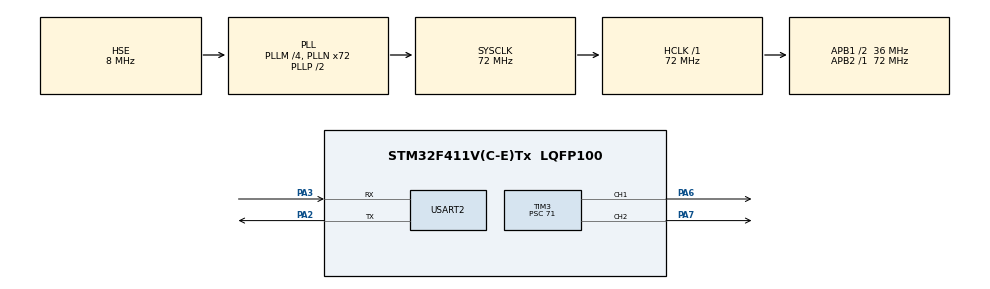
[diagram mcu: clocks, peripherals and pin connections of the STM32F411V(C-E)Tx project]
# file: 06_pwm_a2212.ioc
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Mcu.Family=STM32F4
Mcu.Name=STM32F411V(C-E)Tx
Mcu.Package=LQFP100
NVIC.PriorityGroup=NVIC_PRIORITYGROUP_4
PA2.Mode=Asynchronous
PA2.Signal=USART2_TX
PA3.Mode=Asynchronous
PA3.Signal=USART2_RX
PA6.Signal=S_TIM3_CH1
PA7.Signal=S_TIM3_CH2
PC14-OSC32_IN.Mode=LSE-External-Oscillator
PC14-OSC32_IN.Signal=RCC_OSC32_IN
PC15-OSC32_OUT.Mode=LSE-External-Oscillator
PC15-OSC32_OUT.Signal=RCC_OSC32_OUT
PH0\ -\ OSC_IN.Mode=HSE-External-Oscillator
PH0\ -\ OSC_IN.Signal=RCC_OSC_IN
PH1\ -\ OSC_OUT.Mode=HSE-External-Oscillator
PH1\ -\ OSC_OUT.Signal=RCC_OSC_OUT
ProjectManager.HeapSize=0x200
ProjectManager.StackSize=0x400
ProjectManager.TargetToolchain=MDK-ARM V5.32
RCC.48MHZClocksFreq_Value=36000000
RCC.AHBFreq_Value=72000000
RCC.APB1CLKDivider=RCC_HCLK_DIV2
RCC.APB1Freq_Value=36000000
RCC.APB1TimFreq_Value=72000000
RCC.APB2Freq_Value=72000000
RCC.APB2TimFreq_Value=72000000
RCC.CortexFreq_Value=72000000
RCC.HCLKFreq_Value=72000000
RCC.HSE_VALUE=8000000
RCC.HSI_VALUE=16000000
RCC.PLLM=4
RCC.PLLN=72
RCC.PLLSourceVirtual=RCC_PLLSOURCE_HSE
RCC.SYSCLKFreq_VALUE=72000000
RCC.SYSCLKSource=RCC_SYSCLKSOURCE_PLLCLK
RCC.VCOOutputFreq_Value=144000000
SH.S_TIM3_CH1.0=TIM3_CH1,PWM Generation1 CH1
SH.S_TIM3_CH2.0=TIM3_CH2,PWM Generation2 CH2
TIM3.Channel-PWM\ Generation1\ CH1=TIM_CHANNEL_1
TIM3.Channel-PWM\ Generation2\ CH2=TIM_CHANNEL_2
TIM3.Period=1999
TIM3.Prescaler=71
USART2.VirtualMode=VM_ASYNC
VP_TIM3_VS_ClockSourceINT.Mode=Internal
board=custom

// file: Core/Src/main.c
/* USER CODE BEGIN Header */
/**
  ******************************************************************************
  * @file           : main.c
  * @brief          : Main program body
  ******************************************************************************
  * @attention
  *
  * Copyright (c) 2025 STMicroelectronics.
  * All rights reserved.
  *
  * This software is licensed under terms that can be found in the LICENSE file
  * in the root directory of this software component.
  * If no LICENSE file comes with this software, it is provided AS-IS.
  *
  ******************************************************************************
  */
/* USER CODE END Header */
#include "main.h"
#include "tim.h"
#include "usart.h"
#include "gpio.h"

void SystemClock_Config(void);
/* USER CODE BEGIN PFP */
#include <stdio.h>
#define PUTCHAR_PROTOTYPE int __io_putchar(int ch)
PUTCHAR_PROTOTYPE
{
  /* Place your implementation of fputc here */
  /* e.g. write a character to the USART1 and Loop until the end of transmission */
  HAL_UART_Transmit(&huart2, (uint8_t *)&ch, 1, 0xFFFF);

  return ch;
}

FILE __stdout;

int fputc(int ch, FILE *f){
	HAL_UART_Transmit(&huart2, (uint8_t *)&ch, 1, 0xFFFF);
  return ch;
}

int ferror(FILE *f){
  /* Your implementation of ferror(). */
  return 0;
}
/* USER CODE END PFP */

/* USER CODE BEGIN 0 */

void set_pwm(int ch, int pwmVal) {
	__HAL_TIM_SetCompare(&htim3, ch, pwmVal);
}
/* USER CODE END 0 */

int main(void)
{

  /* USER CODE BEGIN 1 */
  uint16_t pwmVal=1175;   //PWM???
	uint8_t dir=1;
  /* USER CODE END 1 */

  /* MCU Configuration--------------------------------------------------------*/

  /* Reset of all peripherals, Initializes the Flash interface and the Systick. */
  HAL_Init();

  /* Configure the system clock */
  SystemClock_Config();

  /* Initialize all configured peripherals */
  MX_GPIO_Init();
  MX_TIM3_Init();
  MX_USART2_UART_Init();
  /* USER CODE BEGIN 2 */
	printf("START PWM \r\n");
	HAL_TIM_PWM_Start(&htim3,TIM_CHANNEL_1);
  HAL_TIM_PWM_Start(&htim3,TIM_CHANNEL_2);

	set_pwm(TIM_CHANNEL_1, 1000);
	set_pwm(TIM_CHANNEL_2, 1000);
	HAL_Delay(5000);
  /* USER CODE END 2 */

  /* Infinite loop */
  /* USER CODE BEGIN WHILE */
	int count=26;
  while (1)
  {
    /* USER CODE END WHILE */

    /* USER CODE BEGIN 3 */
		printf("count = %d\r\n", count);
		//set_pwm(TIM_CHANNEL_1, (1320-count));
		//set_pwm(TIM_CHANNEL_2, (1320+count));
		set_pwm(TIM_CHANNEL_1, 1380-count);
		set_pwm(TIM_CHANNEL_2, 1380+count);

		HAL_Delay(8000);
		count = count+1;
		if(count > 50)
			break;

		HAL_Delay(500);
  }
	printf("STOP PWM \r\n");
	HAL_TIM_PWM_Stop(&htim3, TIM_CHANNEL_1);
	HAL_TIM_PWM_Stop(&htim3, TIM_CHANNEL_2);
  /* USER CODE END 3 */
}

void SystemClock_Config(void)
{
  RCC_OscInitTypeDef RCC_OscInitStruct = {0};
  RCC_ClkInitTypeDef RCC_ClkInitStruct = {0};

  /** Configure the main internal regulator output voltage
  */
  __HAL_RCC_PWR_CLK_ENABLE();
  __HAL_PWR_VOLTAGESCALING_CONFIG(PWR_REGULATOR_VOLTAGE_SCALE1);

  /** Initializes the RCC Oscillators according to the specified parameters
  * in the RCC_OscInitTypeDef structure.
  */
  RCC_OscInitStruct.OscillatorType = RCC_OSCILLATORTYPE_HSE;
  RCC_OscInitStruct.HSEState = RCC_HSE_ON;
  RCC_OscInitStruct.PLL.PLLState = RCC_PLL_ON;
  RCC_OscInitStruct.PLL.PLLSource = RCC_PLLSOURCE_HSE;
  RCC_OscInitStruct.PLL.PLLM = 4;
  RCC_OscInitStruct.PLL.PLLN = 72;
  RCC_OscInitStruct.PLL.PLLP = RCC_PLLP_DIV2;
  RCC_OscInitStruct.PLL.PLLQ = 4;
  if (HAL_RCC_OscConfig(&RCC_OscInitStruct) != HAL_OK)
  {
    Error_Handler();
  }

  /** Initializes the CPU, AHB and APB buses clocks
  */
  RCC_ClkInitStruct.ClockType = RCC_CLOCKTYPE_HCLK|RCC_CLOCKTYPE_SYSCLK
                              |RCC_CLOCKTYPE_PCLK1|RCC_CLOCKTYPE_PCLK2;
  RCC_ClkInitStruct.SYSCLKSource = RCC_SYSCLKSOURCE_PLLCLK;
  RCC_ClkInitStruct.AHBCLKDivider = RCC_SYSCLK_DIV1;
  RCC_ClkInitStruct.APB1CLKDivider = RCC_HCLK_DIV2;
  RCC_ClkInitStruct.APB2CLKDivider = RCC_HCLK_DIV1;

  if (HAL_RCC_ClockConfig(&RCC_ClkInitStruct, FLASH_LATENCY_2) != HAL_OK)
  {
    Error_Handler();
  }
}

void Error_Handler(void)
{
  __disable_irq();
  while (1)
  {
  }
}
